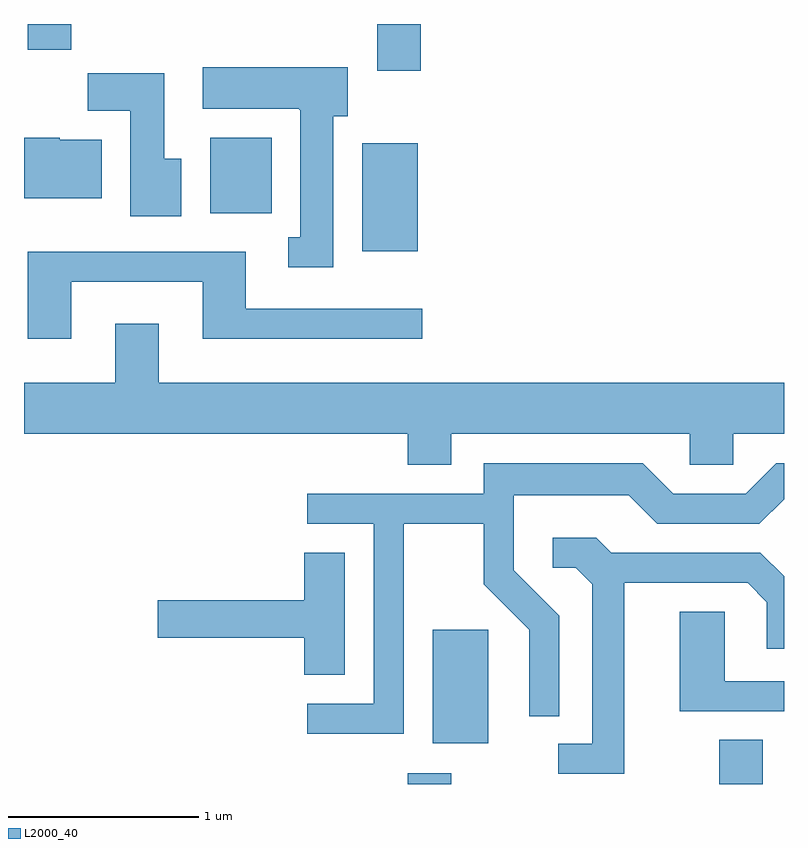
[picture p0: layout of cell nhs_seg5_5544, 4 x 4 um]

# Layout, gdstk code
import gdstk
lib = gdstk.Library(unit=1e-6, precision=1e-09)
def R(c, l, rs):  # rectangles x0, y0, x1, y1
    for r in rs: c.add(gdstk.rectangle(r[:2], r[2:], *l))
def P(c, l, *ps):  # polygons
    for p in ps: c.add(gdstk.Polygon(p, *l))
L2000_40 = (2000, 40)

nhs_seg5_5544 = lib.new_cell('nhs_seg5_5544')
R(nhs_seg5_5544, L2000_40, [(351.631,1446.072,351.859,1446.129), (353.271,1446.072,353.499,1446.304), (351.761,1446.286,352.054,1446.884), (351.391,1448.876,351.684,1449.444), (350.591,1449.076,350.914,1449.474), (351.471,1449.826,351.699,1450.072), (349.631,1449.936,349.859,1450.072)])
P(nhs_seg5_5544, L2000_40, [(351.239,1449.586),(351.314,1449.586),(351.314,1449.844),(350.551,1449.844),(350.551,1449.626),(351.06,1449.626),(351.06,1449.62),(351.066,1449.62),(351.066,1448.949),(351.003,1448.949),(351.003,1448.791),(351.239,1448.791)],
  [(350.439,1449.364),(350.349,1449.364),(350.349,1449.814),(349.946,1449.814),(349.946,1449.616),(350.171,1449.616),(350.171,1449.061),(350.439,1449.061)],
  [(350.019,1449.464),(349.8,1449.464),(349.8,1449.474),(349.611,1449.474),(349.611,1449.156),(350.019,1449.156)],
  [(349.859,1448.716),(350.551,1448.716),(350.551,1448.416),(351.708,1448.416),(351.708,1448.574),(350.779,1448.574),(350.779,1448.874),(349.631,1448.874),(349.631,1448.416),(349.859,1448.416)],
  [(351.859,1447.916),(353.116,1447.916),(353.116,1447.751),(353.344,1447.751),(353.344,1447.916),(353.611,1447.916),(353.611,1448.184),(350.319,1448.184),(350.319,1448.494),(350.091,1448.494),(350.091,1448.184),(349.611,1448.184),(349.611,1447.916),(351.631,1447.916),(351.631,1447.751),(351.859,1447.751)],
  [(351.609,1447.441),(352.031,1447.441),(352.031,1447.124),(352.271,1446.884),(352.271,1446.428),(352.429,1446.428),(352.429,1446.957),(352.189,1447.197),(352.189,1447.591),(352.794,1447.591),(352.944,1447.441),(353.482,1447.441),(353.611,1447.57),(353.611,1447.759),(353.569,1447.759),(353.409,1447.599),(353.027,1447.599),(352.867,1447.759),(352.031,1447.759),(352.031,1447.599),(351.103,1447.599),(351.103,1447.441),(351.451,1447.441),(351.451,1446.494),(351.103,1446.494),(351.103,1446.336),(351.609,1446.336)],
  [(352.769,1447.131),(353.419,1447.131),(353.521,1447.029),(353.521,1446.783),(353.611,1446.783),(353.611,1447.165),(353.487,1447.289),(352.702,1447.289),(352.622,1447.369),(352.393,1447.369),(352.393,1447.211),(352.514,1447.211),(352.601,1447.124),(352.601,1446.284),(352.423,1446.284),(352.423,1446.126),(352.769,1446.126)],
  [(351.299,1447.289),(351.086,1447.289),(351.086,1447.039),(350.316,1447.039),(350.316,1446.841),(351.086,1446.841),(351.086,1446.646),(351.299,1446.646)],
  [(353.611,1446.614),(353.299,1446.614),(353.299,1446.979),(353.061,1446.979),(353.061,1446.456),(353.611,1446.456)])

lib.write_gds('nhs_seg5_5544.gds')
